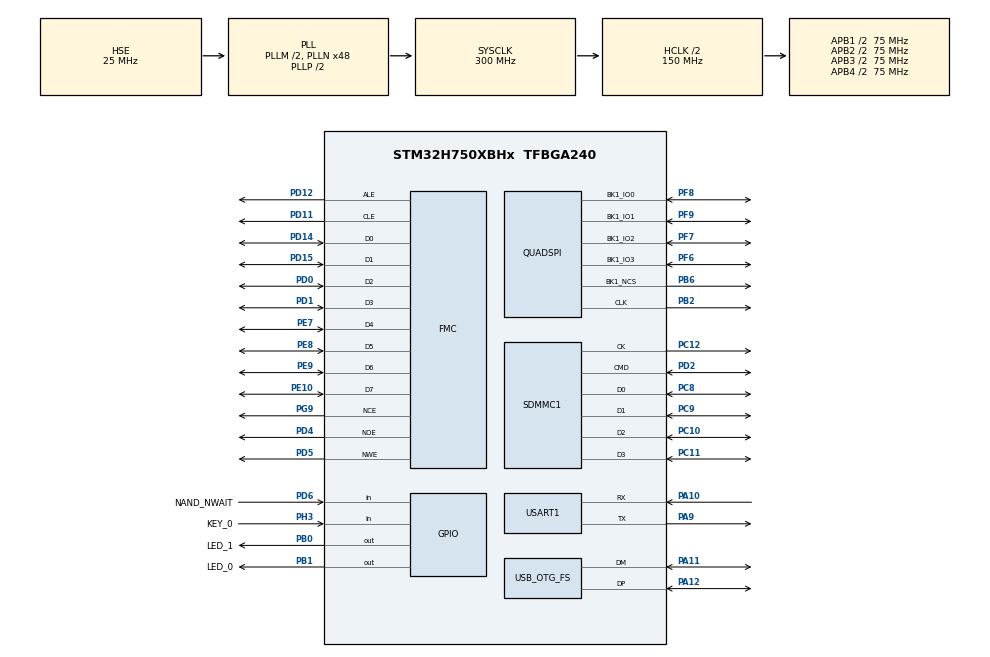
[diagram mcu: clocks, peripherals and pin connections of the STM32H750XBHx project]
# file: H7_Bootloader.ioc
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CORTEX_M7.CPU_DCache=Enabled
CORTEX_M7.CPU_ICache=Enabled
FMC.AttributeSpaceHiZSetupTime1=10
FMC.AttributeSpaceHoldSetupTime1=10
FMC.AttributeSpaceSetupTime1=10
FMC.AttributeSpaceWaitSetupTime1=10
FMC.CommonSpaceHiZSetupTime1=10
FMC.CommonSpaceHoldSetupTime1=10
FMC.CommonSpaceSetupTime1=10
FMC.CommonSpaceWaitSetupTime1=10
FMC.ECCPageSize1=FMC_NAND_ECC_PAGE_SIZE_512BYTE
FMC.NandBlockNbr1=2048
FMC.NandBlockSize1=64
FMC.NandPageSize1=2048
FMC.NandPlaneNbr1=2
FMC.NandPlaneSize1=4096
FMC.NandSpareAreaSize1=64
FMC.TARSetupTime1=10
FMC.TCLRSetupTime1=10
Mcu.Family=STM32H7
Mcu.Name=STM32H750XBHx
Mcu.Package=TFBGA240
NVIC.FMC_IRQn=true\:0\:0\:false\:false\:true\:true\:true\:true
NVIC.OTG_FS_EP1_IN_IRQn=true\:0\:0\:false\:false\:true\:true\:true\:true
NVIC.OTG_FS_EP1_OUT_IRQn=true\:0\:0\:false\:false\:true\:true\:true\:true
NVIC.OTG_FS_IRQn=true\:1\:0\:true\:false\:true\:false\:true\:true
NVIC.PriorityGroup=NVIC_PRIORITYGROUP_4
NVIC.SDMMC1_IRQn=true\:2\:0\:true\:false\:true\:true\:true\:true
PA10.GPIO_Speed=GPIO_SPEED_FREQ_LOW
PA10.Mode=Asynchronous
PA10.Signal=USART1_RX
PA11.GPIO_Speed=GPIO_SPEED_FREQ_MEDIUM
PA11.Mode=Device_Only
PA11.Signal=USB_OTG_FS_DM
PA12.GPIO_Speed=GPIO_SPEED_FREQ_MEDIUM
PA12.Mode=Device_Only
PA12.Signal=USB_OTG_FS_DP
PA13\ (JTMS/SWDIO).Mode=Serial_Wire
PA13\ (JTMS/SWDIO).Signal=DEBUG_JTMS-SWDIO
PA14\ (JTCK/SWCLK).Mode=Serial_Wire
PA14\ (JTCK/SWCLK).Signal=DEBUG_JTCK-SWCLK
PA9.GPIO_Speed=GPIO_SPEED_FREQ_LOW
PA9.Mode=Asynchronous
PA9.Signal=USART1_TX
PB0.GPIO_Label=LED_1
PB0.GPIO_PuPd=GPIO_PULLUP
PB0.GPIO_Speed=GPIO_SPEED_FREQ_LOW
PB0.PinState=GPIO_PIN_SET
PB0.Signal=GPIO_Output
PB1.GPIO_Label=LED_0
PB1.GPIO_PuPd=GPIO_PULLUP
PB1.GPIO_Speed=GPIO_SPEED_FREQ_LOW
PB1.PinState=GPIO_PIN_SET
PB1.Signal=GPIO_Output
PB2.GPIO_PuPd=GPIO_PULLUP
PB2.GPIO_Speed=GPIO_SPEED_FREQ_HIGH
PB2.Mode=Single Bank 1
PB2.Signal=QUADSPI_CLK
PB6.GPIO_PuPd=GPIO_PULLUP
PB6.GPIO_Speed=GPIO_SPEED_FREQ_HIGH
PB6.Mode=Single Bank 1
PB6.Signal=QUADSPI_BK1_NCS
PC10.Mode=SD_4_bits_Wide_bus
PC10.Signal=SDMMC1_D2
PC11.Mode=SD_4_bits_Wide_bus
PC11.Signal=SDMMC1_D3
PC12.Mode=SD_4_bits_Wide_bus
PC12.Signal=SDMMC1_CK
PC8.Mode=SD_4_bits_Wide_bus
PC8.Signal=SDMMC1_D0
PC9.Mode=SD_4_bits_Wide_bus
PC9.Signal=SDMMC1_D1
PD0.Signal=FMC_D2_DA2
PD1.Signal=FMC_D3_DA3
PD11.Signal=FMC_A16_CLE
PD12.Signal=FMC_A17_ALE
PD14.Signal=FMC_D0_DA0
PD15.Signal=FMC_D1_DA1
PD2.Mode=SD_4_bits_Wide_bus
PD2.Signal=SDMMC1_CMD
PD4.Signal=FMC_NOE
PD5.Signal=FMC_NWE
PD6.GPIO_Label=NAND_NWAIT
PD6.GPIO_PuPd=GPIO_PULLUP
PD6.Signal=GPIO_Input
PE10.Signal=FMC_D7_DA7
PE7.Signal=FMC_D4_DA4
PE8.Signal=FMC_D5_DA5
PE9.Signal=FMC_D6_DA6
PF6.GPIO_Speed=GPIO_SPEED_FREQ_HIGH
PF6.Mode=Single Bank 1
PF6.Signal=QUADSPI_BK1_IO3
PF7.GPIO_Speed=GPIO_SPEED_FREQ_HIGH
PF7.Mode=Single Bank 1
PF7.Signal=QUADSPI_BK1_IO2
PF8.GPIO_Speed=GPIO_SPEED_FREQ_HIGH
PF8.Mode=Single Bank 1
PF8.Signal=QUADSPI_BK1_IO0
PF9.GPIO_Speed=GPIO_SPEED_FREQ_HIGH
PF9.Mode=Single Bank 1
PF9.Signal=QUADSPI_BK1_IO1
PG9.Mode=NandChipSelect3_1
PG9.Signal=FMC_NCE
PH0-OSC_IN\ (PH0).Mode=HSE-External-Oscillator
PH0-OSC_IN\ (PH0).Signal=RCC_OSC_IN
PH1-OSC_OUT\ (PH1).Mode=HSE-External-Oscillator
PH1-OSC_OUT\ (PH1).Signal=RCC_OSC_OUT
PH3.GPIO_Label=KEY_0
PH3.GPIO_PuPd=GPIO_PULLUP
PH3.Signal=GPIO_Input
ProjectManager.HeapSize=0x2000
ProjectManager.StackSize=0x2000
ProjectManager.TargetToolchain=Makefile
QUADSPI.ChipSelectHighTime=QSPI_CS_HIGH_TIME_4_CYCLE
QUADSPI.ClockPrescaler=2-1
QUADSPI.FifoThreshold=16
QUADSPI.FlashSize=23-1
QUADSPI.SampleShifting=QSPI_SAMPLE_SHIFTING_HALFCYCLE
RCC.ADCFreq_Value=100000000
RCC.APB1Freq_Value=75000000
RCC.APB2Freq_Value=75000000
RCC.APB3Freq_Value=75000000
RCC.APB4Freq_Value=75000000
RCC.CortexFreq_Value=300000000
RCC.D1PPRE=RCC_APB3_DIV2
RCC.D2PPRE1=RCC_APB1_DIV2
RCC.D2PPRE2=RCC_APB2_DIV2
RCC.D3PPRE=RCC_APB4_DIV2
RCC.DIVM1=2
RCC.DIVM2=2
RCC.DIVM3=2
RCC.DIVN1=48
RCC.DIVN2=16
RCC.DIVN3=24
RCC.DIVQ1=3
RCC.DIVQ2=1
RCC.DIVQ3=10
RCC.FMCCLockSelection=RCC_FMCCLKSOURCE_PLL
RCC.HCLKFreq_Value=150000000
RCC.HPRE=RCC_HCLK_DIV2
RCC.PLL2FRACN=0
RCC.PLL3FRACN=0
RCC.PLLFRACN=0
RCC.PLLSourceVirtual=RCC_PLLSOURCE_HSE
RCC.PWR_Regulator_Voltage_Scale=PWR_REGULATOR_VOLTAGE_SCALE2
RCC.ProductRev=revV
RCC.SDMMC1CLockSelection=RCC_SDMMCCLKSOURCE_PLL2
RCC.SYSCLKFreq_VALUE=300000000
RCC.SYSCLKSource=RCC_SYSCLKSOURCE_PLLCLK
RCC.USART16CLockSelection=RCC_USART16CLKSOURCE_PLL3
RCC.USBCLockSelection=RCC_USBCLKSOURCE_HSI48
RCC.USBFreq_Value=48000000
SDMMC1.ClockDiv=2
SDMMC1.HardwareFlowControl=SDMMC_HARDWARE_FLOW_CONTROL_ENABLE
SH.FMC_A16_CLE.0=FMC_CLE,8b-dmux1
SH.FMC_A17_ALE.0=FMC_ALE,8b-dmux1
SH.FMC_D0_DA0.0=FMC_D0,8b-dmux1
SH.FMC_D1_DA1.0=FMC_D1,8b-dmux1
SH.FMC_D2_DA2.0=FMC_D2,8b-dmux1
SH.FMC_D3_DA3.0=FMC_D3,8b-dmux1
SH.FMC_D4_DA4.0=FMC_D4,8b-dmux1
SH.FMC_D5_DA5.0=FMC_D5,8b-dmux1
SH.FMC_D6_DA6.0=FMC_D6,8b-dmux1
SH.FMC_D7_DA7.0=FMC_D7,8b-dmux1
SH.FMC_NOE.0=FMC_NOE,8b-dmux1
SH.FMC_NWE.0=FMC_NWE,8b-dmux1
TIM6.Prescaler=149
USART1.VirtualMode-Asynchronous=VM_ASYNC
USB_DEVICE.CLASS_NAME_FS=MSC
USB_DEVICE.USBD_MAX_NUM_CONFIGURATION-MSC_FS=2
USB_DEVICE.USBD_MAX_NUM_INTERFACES-MSC_FS=2
USB_DEVICE.USBD_SELF_POWERED-MSC_FS=1
USB_DEVICE.VirtualMode-MSC_FS=Msc
USB_DEVICE.VirtualModeFS=Msc_FS
USB_OTG_FS.VirtualMode=Device_Only
VP_TIM6_VS_ClockSourceINT.Mode=Enable_Timer
VP_USB_DEVICE_VS_USB_DEVICE_MSC_FS.Mode=MSC_FS
board=custom

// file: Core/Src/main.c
/* USER CODE BEGIN Header */
/**
 ******************************************************************************
 * @file           : main.c
 * @brief          : Main program body
 ******************************************************************************
 * @attention
 *
 * Copyright (c) 2022 STMicroelectronics.
 * All rights reserved.
 *
 * This software is licensed under terms that can be found in the LICENSE file
 * in the root directory of this software component.
 * If no LICENSE file comes with this software, it is provided AS-IS.
 *
 ******************************************************************************
 */
/* USER CODE END Header */
#include "main.h"
#include "quadspi.h"
#include "tim.h"
#include "usart.h"
#include "gpio.h"
#include "fmc.h"

/* USER CODE BEGIN Includes */
#include "sdmmc.h"
#include "usb_device.h"
#include "norflash.h"
#include "nand.h"
#include "malloc.h"
#include "ftl.h"
#include "mpu.h"
/* USER CODE END Includes */

void SystemClock_Config(void);

/* USER CODE BEGIN 0 */
typedef void (*pFunction)(void);

pFunction JumpToApplication;
/* USER CODE END 0 */

int main(void)
{
  /* USER CODE BEGIN 1 */
  // uint8_t temp1[15] = "hello sudaroot\r\n";
  // uint8_t *temp3 = (uint8_t *)QSPI_BASE;
  /* USER CODE END 1 */

  /* Enable I-Cache---------------------------------------------------------*/
  SCB_EnableICache();

  /* Enable D-Cache---------------------------------------------------------*/
  SCB_EnableDCache();

  /* MCU Configuration--------------------------------------------------------*/

  /* Reset of all peripherals, Initializes the Flash interface and the Systick. */
  HAL_Init();

  /* Configure the system clock */
  SystemClock_Config();

  /* Initialize all configured peripherals */
  MX_GPIO_Init();
  MX_TIM6_Init();
  MX_USART1_UART_Init();
  MX_QUADSPI_Init();
  MX_FMC_Init();
  /* USER CODE BEGIN 2 */
  HAL_GPIO_WritePin(LED_0_GPIO_Port, LED_0_Pin, RESET);
  HAL_GPIO_WritePin(LED_1_GPIO_Port, LED_1_Pin, RESET);
  delay_ms(3000);

  if (HAL_GPIO_ReadPin(KEY_0_GPIO_Port, KEY_0_Pin) == 0)
  {
    // run usb mode
    HAL_GPIO_WritePin(LED_0_GPIO_Port, LED_0_Pin, SET);
    MX_SDMMC1_SD_Init();
    MX_USB_DEVICE_Init();
    MPU_Memory_Protection();
    my_mem_init(SRAMIN);
    // my_mem_init(SRAMEX);
  }
  else
  {
    // run main program
    HAL_GPIO_WritePin(LED_1_GPIO_Port, LED_1_Pin, SET);
    for (int i = 0; i != 20; i++)
    {
      HAL_GPIO_TogglePin(LED_0_GPIO_Port, LED_0_Pin);
      delay_ms(100);
    }
    NORFLASH_MemoryMappedMode();
    printf("bootloader will jump to app\n");
    SysTick->CTRL = 0;
    SysTick->LOAD = 0;
    SysTick->VAL = 0;
    __disable_irq();
    JumpToApplication = (pFunction)(*(__IO uint32_t *)(QSPI_BASE + 0x3C000 + 4)); // 设置起始地址
    __set_MSP(*(__IO uint32_t *)(QSPI_BASE + 0x3C000));                           // 设置主堆栈指针

    JumpToApplication();
  }
  /* USER CODE END 2 */

  /* Infinite loop */
  /* USER CODE BEGIN WHILE */
  while (1)
  {
    // usb mode
    HAL_GPIO_TogglePin(LED_1_GPIO_Port, LED_1_Pin);
    delay_ms(100);
    /* USER CODE END WHILE */

  }
}

void SystemClock_Config(void)
{
  RCC_OscInitTypeDef RCC_OscInitStruct = {0};
  RCC_ClkInitTypeDef RCC_ClkInitStruct = {0};

  /** Supply configuration update enable
   */
  HAL_PWREx_ConfigSupply(PWR_LDO_SUPPLY);

  /** Configure the main internal regulator output voltage
   */
  __HAL_PWR_VOLTAGESCALING_CONFIG(PWR_REGULATOR_VOLTAGE_SCALE2);

  while (!__HAL_PWR_GET_FLAG(PWR_FLAG_VOSRDY))
  {
  }

  /** Macro to configure the PLL clock source
   */
  __HAL_RCC_PLL_PLLSOURCE_CONFIG(RCC_PLLSOURCE_HSE);

  /** Initializes the RCC Oscillators according to the specified parameters
   * in the RCC_OscInitTypeDef structure.
   */
  RCC_OscInitStruct.OscillatorType = RCC_OSCILLATORTYPE_HSI48 | RCC_OSCILLATORTYPE_HSE;
  RCC_OscInitStruct.HSEState = RCC_HSE_ON;
  RCC_OscInitStruct.HSI48State = RCC_HSI48_ON;
  RCC_OscInitStruct.PLL.PLLState = RCC_PLL_ON;
  RCC_OscInitStruct.PLL.PLLSource = RCC_PLLSOURCE_HSE;
  RCC_OscInitStruct.PLL.PLLM = 2;
  RCC_OscInitStruct.PLL.PLLN = 48;
  RCC_OscInitStruct.PLL.PLLP = 2;
  RCC_OscInitStruct.PLL.PLLQ = 3;
  RCC_OscInitStruct.PLL.PLLR = 2;
  RCC_OscInitStruct.PLL.PLLRGE = RCC_PLL1VCIRANGE_3;
  RCC_OscInitStruct.PLL.PLLVCOSEL = RCC_PLL1VCOWIDE;
  RCC_OscInitStruct.PLL.PLLFRACN = 0;
  if (HAL_RCC_OscConfig(&RCC_OscInitStruct) != HAL_OK)
  {
    Error_Handler();
  }

  /** Initializes the CPU, AHB and APB buses clocks
   */
  RCC_ClkInitStruct.ClockType = RCC_CLOCKTYPE_HCLK | RCC_CLOCKTYPE_SYSCLK | RCC_CLOCKTYPE_PCLK1 | RCC_CLOCKTYPE_PCLK2 | RCC_CLOCKTYPE_D3PCLK1 | RCC_CLOCKTYPE_D1PCLK1;
  RCC_ClkInitStruct.SYSCLKSource = RCC_SYSCLKSOURCE_PLLCLK;
  RCC_ClkInitStruct.SYSCLKDivider = RCC_SYSCLK_DIV1;
  RCC_ClkInitStruct.AHBCLKDivider = RCC_HCLK_DIV2;
  RCC_ClkInitStruct.APB3CLKDivider = RCC_APB3_DIV2;
  RCC_ClkInitStruct.APB1CLKDivider = RCC_APB1_DIV2;
  RCC_ClkInitStruct.APB2CLKDivider = RCC_APB2_DIV2;
  RCC_ClkInitStruct.APB4CLKDivider = RCC_APB4_DIV2;

  if (HAL_RCC_ClockConfig(&RCC_ClkInitStruct, FLASH_LATENCY_2) != HAL_OK)
  {
    Error_Handler();
  }
}

void Error_Handler(void)
{
  __disable_irq();
  while (1)
  {
  }
}
